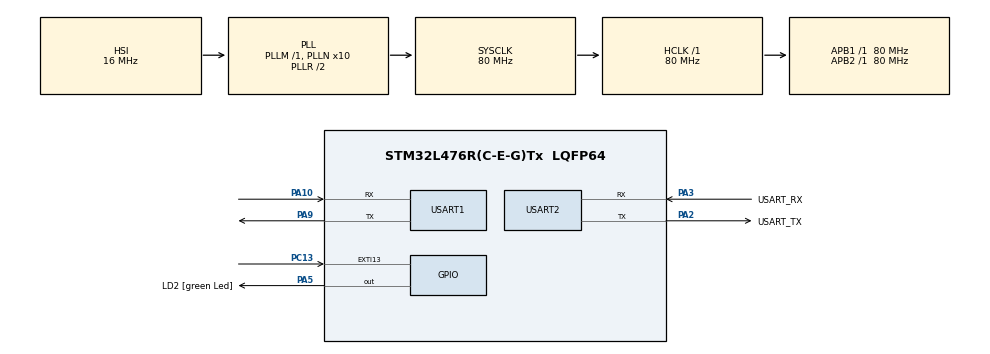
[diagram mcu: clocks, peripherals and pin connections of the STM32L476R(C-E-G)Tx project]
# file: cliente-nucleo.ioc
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Dma.Request0=USART1_RX
Dma.Request1=USART2_TX
Dma.USART1_RX.0.Direction=DMA_PERIPH_TO_MEMORY
Dma.USART1_RX.0.Instance=DMA1_Channel5
Dma.USART1_RX.0.MemDataAlignment=DMA_MDATAALIGN_BYTE
Dma.USART1_RX.0.MemInc=DMA_MINC_ENABLE
Dma.USART1_RX.0.Mode=DMA_NORMAL
Dma.USART1_RX.0.PeriphDataAlignment=DMA_PDATAALIGN_BYTE
Dma.USART1_RX.0.PeriphInc=DMA_PINC_DISABLE
Dma.USART1_RX.0.Priority=DMA_PRIORITY_LOW
Dma.USART2_TX.1.Direction=DMA_MEMORY_TO_PERIPH
Dma.USART2_TX.1.Instance=DMA1_Channel7
Dma.USART2_TX.1.MemDataAlignment=DMA_MDATAALIGN_BYTE
Dma.USART2_TX.1.MemInc=DMA_MINC_ENABLE
Dma.USART2_TX.1.Mode=DMA_NORMAL
Dma.USART2_TX.1.PeriphDataAlignment=DMA_PDATAALIGN_BYTE
Dma.USART2_TX.1.PeriphInc=DMA_PINC_DISABLE
Dma.USART2_TX.1.Priority=DMA_PRIORITY_LOW
Mcu.Family=STM32L4
Mcu.Name=STM32L476R(C-E-G)Tx
Mcu.Package=LQFP64
NVIC.DMA1_Channel5_IRQn=true\:0\:0\:false\:false\:true\:false\:true\:true
NVIC.DMA1_Channel7_IRQn=true\:0\:0\:false\:false\:true\:false\:true\:true
NVIC.EXTI15_10_IRQn=true\:0\:0\:false\:false\:true\:true\:true\:true
NVIC.PriorityGroup=NVIC_PRIORITYGROUP_4
NVIC.USART1_IRQn=true\:0\:0\:false\:false\:true\:true\:true\:true
NVIC.USART2_IRQn=true\:0\:0\:false\:false\:true\:true\:true\:true
PA10.Mode=Asynchronous
PA10.Signal=USART1_RX
PA13\ (JTMS-SWDIO).GPIO_Label=TMS
PA13\ (JTMS-SWDIO).Mode=Serial_Wire
PA13\ (JTMS-SWDIO).Signal=SYS_JTMS-SWDIO
PA14\ (JTCK-SWCLK).GPIO_Label=TCK
PA14\ (JTCK-SWCLK).Mode=Serial_Wire
PA14\ (JTCK-SWCLK).Signal=SYS_JTCK-SWCLK
PA2.GPIO_Label=USART_TX
PA2.GPIO_Mode=GPIO_MODE_AF_PP
PA2.GPIO_PuPd=GPIO_NOPULL
PA2.GPIO_Speed=GPIO_SPEED_FREQ_VERY_HIGH
PA2.Mode=Asynchronous
PA2.Signal=USART2_TX
PA3.GPIO_Label=USART_RX
PA3.GPIO_Mode=GPIO_MODE_AF_PP
PA3.GPIO_PuPd=GPIO_NOPULL
PA3.GPIO_Speed=GPIO_SPEED_FREQ_VERY_HIGH
PA3.Mode=Asynchronous
PA3.Signal=USART2_RX
PA5.GPIO_Label=LD2 [green Led]
PA5.GPIO_ModeDefaultOutputPP=GPIO_MODE_OUTPUT_PP
PA5.GPIO_PuPd=GPIO_NOPULL
PA5.GPIO_Speed=GPIO_SPEED_FREQ_LOW
PA5.Signal=GPIO_Output
PA9.Mode=Asynchronous
PA9.Signal=USART1_TX
PB3\ (JTDO-TRACESWO).GPIO_Label=SWO
PB3\ (JTDO-TRACESWO).Signal=SYS_JTDO-SWO
PC13.Signal=GPXTI13
PC14-OSC32_IN\ (PC14).Mode=LSE-External-Oscillator
PC14-OSC32_IN\ (PC14).Signal=RCC_OSC32_IN
PC15-OSC32_OUT\ (PC15).Mode=LSE-External-Oscillator
PC15-OSC32_OUT\ (PC15).Signal=RCC_OSC32_OUT
PH0-OSC_IN\ (PH0).Signal=RCC_OSC_IN
PH1-OSC_OUT\ (PH1).Signal=RCC_OSC_OUT
ProjectManager.HeapSize=0x200
ProjectManager.StackSize=0x400
ProjectManager.TargetToolchain=STM32CubeIDE
RCC.ADCFreq_Value=64000000
RCC.AHBFreq_Value=80000000
RCC.APB1Freq_Value=80000000
RCC.APB1TimFreq_Value=80000000
RCC.APB2Freq_Value=80000000
RCC.APB2TimFreq_Value=80000000
RCC.CortexFreq_Value=80000000
RCC.HCLKFreq_Value=80000000
RCC.HSE_VALUE=8000000
RCC.HSI_VALUE=16000000
RCC.MSI_VALUE=4000000
RCC.PLLN=10
RCC.PLLSourceVirtual=RCC_PLLSOURCE_HSI
RCC.PREFETCH_ENABLE=1
RCC.SYSCLKFreq_VALUE=80000000
RCC.SYSCLKSource=RCC_SYSCLKSOURCE_PLLCLK
RCC.USBFreq_Value=64000000
RCC.VCOOutputFreq_Value=160000000
USART1.VirtualMode-Asynchronous=VM_ASYNC
USART2.VirtualMode-Asynchronous=VM_ASYNC
board=NUCLEO-L476RG

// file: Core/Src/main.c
//Placa Nucleo Firmware

/* USER CODE BEGIN Header */
/**
  ******************************************************************************
  * @file           : main.c
  * @brief          : Main program body
  ******************************************************************************
  * @attention
  *
  * Copyright (c) 2026 STMicroelectronics.
  * All rights reserved.
  *
  * This software is licensed under terms that can be found in the LICENSE file
  * in the root directory of this software component.
  * If no LICENSE file comes with this software, it is provided AS-IS.
  *
  ******************************************************************************
  */
/* USER CODE END Header */
#include "main.h"

UART_HandleTypeDef huart1;
UART_HandleTypeDef huart2;
DMA_HandleTypeDef hdma_usart1_rx;
DMA_HandleTypeDef hdma_usart2_tx;

/* USER CODE BEGIN PV */

#include <stdio.h>
#include <string.h>

uint8_t cmd = 0x5A;        // comando enviado ao servidor
uint8_t contador_rx = 0;   // valor recebido
uint8_t tabela_rx[100];    // tabela recebida via DMA

char log_buffer[120];

// máquina de estados
typedef enum {
    IDLE,
    WAITING_SERVER,
    PROCESSING
} State_t;

State_t estado = IDLE;

/* USER CODE END PV */

void SystemClock_Config(void);
static void MX_GPIO_Init(void);
static void MX_DMA_Init(void);
static void MX_USART2_UART_Init(void);
static void MX_USART1_UART_Init(void);

/* USER CODE BEGIN 0 */
void log_msg(char *msg)
{
    HAL_UART_Transmit(&huart2, (uint8_t*)msg, strlen(msg), 100);
}
/* USER CODE END 0 */

int main(void)
{

  /* MCU Configuration--------------------------------------------------------*/

  /* Reset of all peripherals, Initializes the Flash interface and the Systick. */
  HAL_Init();

  /* Configure the system clock */
  SystemClock_Config();

  /* Initialize all configured peripherals */
  MX_GPIO_Init();
  MX_DMA_Init();
  MX_USART2_UART_Init();
  MX_USART1_UART_Init();
  /* USER CODE BEGIN 2 */
  HAL_UART_Receive_IT(&huart1, &contador_rx, 1);

  // log
  sprintf(log_buffer, "[INIT] Sistema iniciado...\r\n");
  log_msg(log_buffer);

  /* USER CODE END 2 */

  /* Infinite loop */
  while (1)
  {

    /* USER CODE BEGIN 3 */
	  if(estado == PROCESSING)
	  {
	      sprintf(log_buffer, "[STATE] -> PROCESSING\r\n");
	      log_msg(log_buffer);

	      for(int i = 0; i < contador_rx; i++)
	      {
	          HAL_GPIO_TogglePin(GPIOA, GPIO_PIN_5);
	          HAL_Delay(500);
	      }

	      // garante que termina apagado
	      HAL_GPIO_WritePin(GPIOA, GPIO_PIN_5, GPIO_PIN_RESET);

	      sprintf(log_buffer, "[LED] Piscar concluido.\r\n");
	      log_msg(log_buffer);

	      char msg[50];
	      sprintf(msg, "Numero de eventos = %d\r\n", contador_rx);
	      HAL_UART_Transmit_IT(&huart2, (uint8_t*)msg, strlen(msg));

	      //HAL_UART_Transmit_DMA(&huart2, tabela_rx, sizeof(tabela_rx));

	      sprintf(log_buffer, "[UART2] Enviando tabela ao PC...\r\n");
	      log_msg(log_buffer);

	      estado = IDLE;
	  }
  }
  /* USER CODE END 3 */
}

void SystemClock_Config(void)
{
  RCC_OscInitTypeDef RCC_OscInitStruct = {0};
  RCC_ClkInitTypeDef RCC_ClkInitStruct = {0};

  /** Configure the main internal regulator output voltage
  */
  if (HAL_PWREx_ControlVoltageScaling(PWR_REGULATOR_VOLTAGE_SCALE1) != HAL_OK)
  {
    Error_Handler();
  }

  /** Initializes the RCC Oscillators according to the specified parameters
  * in the RCC_OscInitTypeDef structure.
  */
  RCC_OscInitStruct.OscillatorType = RCC_OSCILLATORTYPE_HSI;
  RCC_OscInitStruct.HSIState = RCC_HSI_ON;
  RCC_OscInitStruct.HSICalibrationValue = RCC_HSICALIBRATION_DEFAULT;
  RCC_OscInitStruct.PLL.PLLState = RCC_PLL_ON;
  RCC_OscInitStruct.PLL.PLLSource = RCC_PLLSOURCE_HSI;
  RCC_OscInitStruct.PLL.PLLM = 1;
  RCC_OscInitStruct.PLL.PLLN = 10;
  RCC_OscInitStruct.PLL.PLLP = RCC_PLLP_DIV7;
  RCC_OscInitStruct.PLL.PLLQ = RCC_PLLQ_DIV2;
  RCC_OscInitStruct.PLL.PLLR = RCC_PLLR_DIV2;
  if (HAL_RCC_OscConfig(&RCC_OscInitStruct) != HAL_OK)
  {
    Error_Handler();
  }

  /** Initializes the CPU, AHB and APB buses clocks
  */
  RCC_ClkInitStruct.ClockType = RCC_CLOCKTYPE_HCLK|RCC_CLOCKTYPE_SYSCLK
                              |RCC_CLOCKTYPE_PCLK1|RCC_CLOCKTYPE_PCLK2;
  RCC_ClkInitStruct.SYSCLKSource = RCC_SYSCLKSOURCE_PLLCLK;
  RCC_ClkInitStruct.AHBCLKDivider = RCC_SYSCLK_DIV1;
  RCC_ClkInitStruct.APB1CLKDivider = RCC_HCLK_DIV1;
  RCC_ClkInitStruct.APB2CLKDivider = RCC_HCLK_DIV1;

  if (HAL_RCC_ClockConfig(&RCC_ClkInitStruct, FLASH_LATENCY_4) != HAL_OK)
  {
    Error_Handler();
  }
}

static void MX_USART1_UART_Init(void)
{

  huart1.Instance = USART1;
  huart1.Init.BaudRate = 115200;
  huart1.Init.WordLength = UART_WORDLENGTH_8B;
  huart1.Init.StopBits = UART_STOPBITS_1;
  huart1.Init.Parity = UART_PARITY_NONE;
  huart1.Init.Mode = UART_MODE_TX_RX;
  huart1.Init.HwFlowCtl = UART_HWCONTROL_NONE;
  huart1.Init.OverSampling = UART_OVERSAMPLING_16;
  huart1.Init.OneBitSampling = UART_ONE_BIT_SAMPLE_DISABLE;
  huart1.AdvancedInit.AdvFeatureInit = UART_ADVFEATURE_NO_INIT;
  if (HAL_UART_Init(&huart1) != HAL_OK)
  {
    Error_Handler();
  }

}

static void MX_USART2_UART_Init(void)
{

  huart2.Instance = USART2;
  huart2.Init.BaudRate = 115200;
  huart2.Init.WordLength = UART_WORDLENGTH_8B;
  huart2.Init.StopBits = UART_STOPBITS_1;
  huart2.Init.Parity = UART_PARITY_NONE;
  huart2.Init.Mode = UART_MODE_TX_RX;
  huart2.Init.HwFlowCtl = UART_HWCONTROL_NONE;
  huart2.Init.OverSampling = UART_OVERSAMPLING_16;
  huart2.Init.OneBitSampling = UART_ONE_BIT_SAMPLE_DISABLE;
  huart2.AdvancedInit.AdvFeatureInit = UART_ADVFEATURE_NO_INIT;
  if (HAL_UART_Init(&huart2) != HAL_OK)
  {
    Error_Handler();
  }

}

static void MX_DMA_Init(void)
{

  /* DMA controller clock enable */
  __HAL_RCC_DMA1_CLK_ENABLE();

  /* DMA interrupt init */
  /* DMA1_Channel5_IRQn interrupt configuration */
  HAL_NVIC_SetPriority(DMA1_Channel5_IRQn, 0, 0);
  HAL_NVIC_EnableIRQ(DMA1_Channel5_IRQn);
  /* DMA1_Channel7_IRQn interrupt configuration */
  HAL_NVIC_SetPriority(DMA1_Channel7_IRQn, 0, 0);
  HAL_NVIC_EnableIRQ(DMA1_Channel7_IRQn);

}

static void MX_GPIO_Init(void)
{
  GPIO_InitTypeDef GPIO_InitStruct = {0};

  /* GPIO Ports Clock Enable */
  __HAL_RCC_GPIOC_CLK_ENABLE();
  __HAL_RCC_GPIOH_CLK_ENABLE();
  __HAL_RCC_GPIOA_CLK_ENABLE();
  __HAL_RCC_GPIOB_CLK_ENABLE();

  /*Configure GPIO pin Output Level */
  HAL_GPIO_WritePin(LD2_GPIO_Port, LD2_Pin, GPIO_PIN_RESET);

  /*Configure GPIO pin : PC13 */
  GPIO_InitStruct.Pin = GPIO_PIN_13;
  GPIO_InitStruct.Mode = GPIO_MODE_IT_RISING;
  GPIO_InitStruct.Pull = GPIO_NOPULL;
  HAL_GPIO_Init(GPIOC, &GPIO_InitStruct);

  /*Configure GPIO pin : LD2_Pin */
  GPIO_InitStruct.Pin = LD2_Pin;
  GPIO_InitStruct.Mode = GPIO_MODE_OUTPUT_PP;
  GPIO_InitStruct.Pull = GPIO_NOPULL;
  GPIO_InitStruct.Speed = GPIO_SPEED_FREQ_LOW;
  HAL_GPIO_Init(LD2_GPIO_Port, &GPIO_InitStruct);

  /* EXTI interrupt init*/
  HAL_NVIC_SetPriority(EXTI15_10_IRQn, 0, 0);
  HAL_NVIC_EnableIRQ(EXTI15_10_IRQn);

}

/* USER CODE BEGIN 4 */
void HAL_GPIO_EXTI_Callback(uint16_t GPIO_Pin)
{
    if(GPIO_Pin == GPIO_PIN_13)
    {
        sprintf(log_buffer, "[BTN] Botao pressionado - enviando 0x5A...\r\n");
        log_msg(log_buffer);

        if(estado == IDLE)
        {
            HAL_UART_Transmit_IT(&huart1, &cmd, 1);

            sprintf(log_buffer, "[UART1 TX] Comando enviado.\r\n");
            log_msg(log_buffer);

            estado = WAITING_SERVER;
        }
        else
        {
            sprintf(log_buffer, "[IGNORADO] Sistema ocupado\r\n");
            log_msg(log_buffer);
        }
    }
}

void HAL_UART_RxCpltCallback(UART_HandleTypeDef *huart)
{
    // Recebe contador (1 byte)
    if(huart->Instance == USART1 && estado == WAITING_SERVER)
    {
        sprintf(log_buffer, "[UART1 RX] Contador recebido: %d\r\n", contador_rx);
        log_msg(log_buffer);

        // inicia DMA
        //HAL_UART_Receive_DMA(&huart1, tabela_rx, sizeof(tabela_rx));
        HAL_UART_Receive_DMA(&huart1, tabela_rx, 40);

        sprintf(log_buffer, "[DMA] Recebendo tabela...\r\n");
        log_msg(log_buffer);

        estado = PROCESSING;
    }

    // Recebe tabela completa (DMA terminou)
    /*
    else if(huart->Instance == USART1 && estado == PROCESSING)
    {
        sprintf(log_buffer, "[DMA RX] Tabela recebida!\r\n");
        sprintf(log_buffer, "[TABELA RECEBIDA]:\r\n%s\r\n", tabela_rx);
        log_msg(log_buffer);
    }
    */

    // reativa recepção do contador
    HAL_UART_Receive_IT(&huart1, &contador_rx, 1);
}

void HAL_UART_RxCpltCallback_DMA(UART_HandleTypeDef *huart)
{
    if(huart->Instance == USART1)
    {
        sprintf(log_buffer, "[DMA RX] Tabela recebida!\r\n");
        log_msg(log_buffer);

        sprintf(log_buffer, "[TABELA RECEBIDA]:\r\n%s\r\n", tabela_rx);
        log_msg(log_buffer);

        estado = IDLE;
    }
}

/* USER CODE END 4 */

void Error_Handler(void)
{
  __disable_irq();
  while (1)
  {
  }
}
